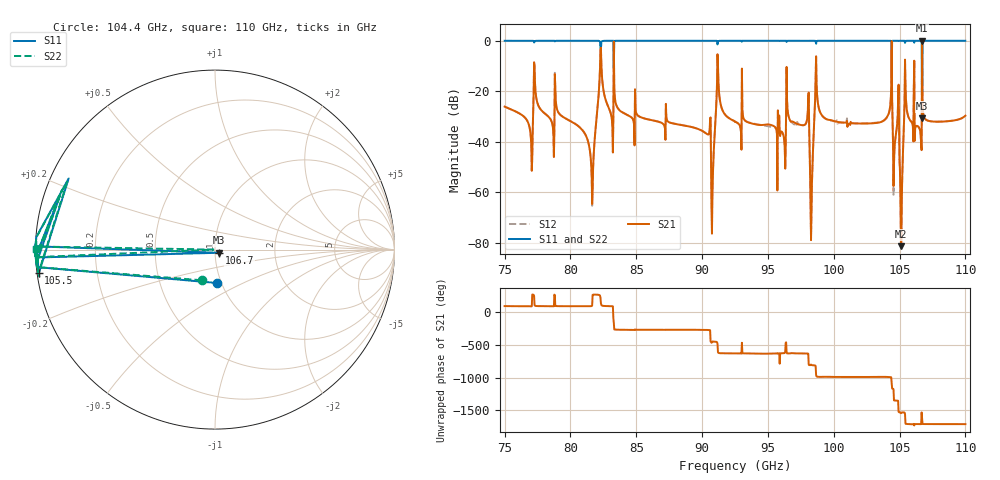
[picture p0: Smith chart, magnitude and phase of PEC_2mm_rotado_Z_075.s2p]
! TOUCHSTONE file generated by CST MICROWAVE STUDIO
! Date and time: Fri Feb 16 17:58:30 2024
! Project name: metal_rotado.cst
! Parameters = {angX=0.75; angY=2}
! Header version: 2018
! Port assignment regex: !\s*Touchstone port\s*([0-9]+)\s*=\s*(CST MWS port|CST DS port)\s*([0-9]+|Zmin|Zmax)\s*\(\"(.*)\"\)(\s*mode\s*([0-9]+))?.*
! Touchstone port assignment:
! Touchstone port 1 = CST MWS port 1 ("")
! Touchstone port 2 = CST MWS port 2 ("")
# GHz S MA R 376.7
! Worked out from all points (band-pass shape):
!   1001 points, 75 GHz to 110 GHz, reference 376.7 ohm
!   highest |S21| = 0.00 dB at 106.7 GHz (marker M1); lowest = -81.3 dB at 105.1 GHz (marker M2)
!   |S21| within 3 dB of the highest: 82.30237 GHz to 82.31638 GHz (14.01 MHz wide, 0.017 % of centre); 83.29188 GHz to 83.30011 GHz (8.233 MHz wide, 0.00988 % of centre)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
!   lowest |S11| = -30.7 dB at 106.7 GHz (marker M3), VSWR 1.06, Z = 394 - j13.9 ohm
!   |S11| at or under -10 dB: 83.29212 GHz to 83.2979 GHz (5.781 MHz wide, 0.00694 % of centre); 104.389 GHz to 104.411 GHz (22.07 MHz wide, 0.0211 % of centre); 106.6864 GHz to 106.7336 GHz (47.19 MHz wide, 0.0442 % of centre)
!   |S22| runs from -41.0 to 0.0 dB; largest |S21 - S12| = 0.022
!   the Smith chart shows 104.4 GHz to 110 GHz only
!   S11 on the Smith chart (normalised r, x): 104.4 GHz: 0.96, -0.37; 105.5 GHz: 0.00, -0.07; 106.7 GHz: 1.05, -0.04; 110 GHz: 0.00, +0.00
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75  0.9988 -176.9  0.04981 93.1  0.04978 93.0  0.9988 -177.0
76.96  0.9999 -179.0  0.01506 91.0  0.01507 91.0  0.9999 -179.0
77.38  0.9966 -175.1  0.0824 94.9  0.08243 94.9  0.9966 -175.1
80.845  0.9999 -178.9  0.01778 91.5  0.01802 91.1  1 -178.8
81.65  1 -179.7  0.0005906 102.6  0.0005446 87.2  1 -179.8
82.35  0.9414 -160.1  0.3374 109.8  0.3374 109.8  0.9414 -160.2
83.085  0.9994 -177.9  0.03481 92.0  0.03478 92.1  0.9994 -177.9
86.69  0.9998 -178.5  0.025 91.3  0.02515 91.4  0.9997 -178.6
90.47  0.9998 -179.6  0.01398 88.5  0.01377 90.5  0.9999 -179.6
90.82  1 -179.9  0.002224 -88.1  0.002559 -91.4  0.9999 -179.9
91.24  0.9879 -171.0  0.1546 98.9  0.155 98.9  0.988 -171.2
92.5  0.9997 -178.7  0.02472 91.4  0.02528 91.3  0.9997 -178.7
97.925  0.9997 179.9  0.02448 89.9  0.0244 89.9  0.9997 179.9
98.345  1 -179.9  0.001525 -89.2  0.001525 -90.0  1 -179.9
98.73  0.9958 -175.1  0.0897 94.9  0.08966 94.9  0.996 -175.2
104.19  0.9991 179.3  0.03755 89.8  0.03646 88.7  0.9997 179.2
104.4  0.1865 -86.2  0.9825 -10.0  0.9825 -10.0  0.1865 -113.7
104.855  0.9994 179.1  0.03134 89.0  0.03132 89.0  0.9995 179.1
105.135  1 -179.7  8.653e-05 -100.0  0.0001243 -118.5  1 -179.7
105.45  0.9907 -172.3  0.1364 97.5  0.1363 97.6  0.9905 -172.7
106.71  0.02924 -37.1  1 178.4  1.014 179.4  0.008931 178.5
110  0.9995 179.7  0.03297 89.7  0.03297 89.7  0.9995 179.7
